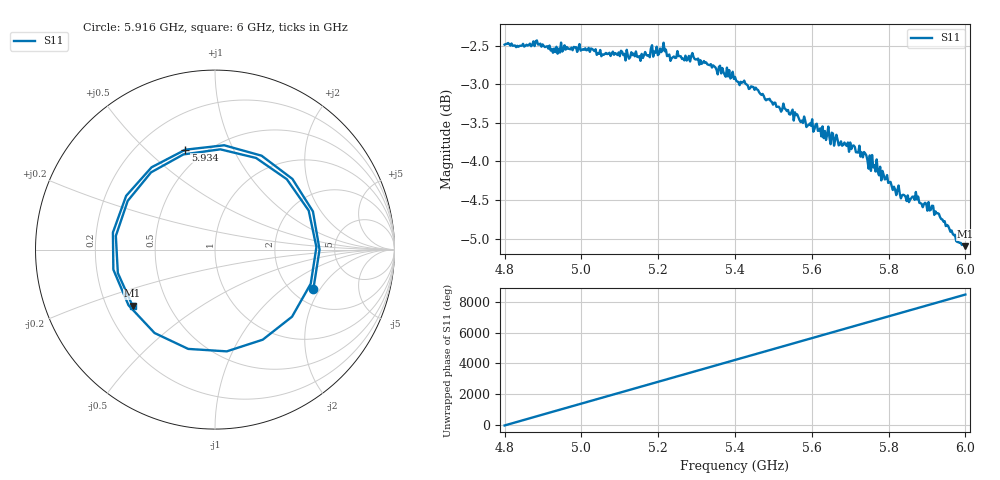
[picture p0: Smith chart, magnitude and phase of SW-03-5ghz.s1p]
! NanoVNA-App
! Date: 2026-05-22 18:56:15
! Start: 4.8GHz Stop: 6GHz Points: 401
! S-Parameter data: F S11
# Hz S RI R 50
!  Frequency  S11_Real  S11_Imag
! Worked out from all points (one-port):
!   401 points, 4.8 GHz to 6 GHz, reference 50 ohm
!   lowest |S11| = -5.1 dB at 6 GHz (marker M1), VSWR 3.50, Z = 15.5 - j14.1 ohm
!   |S11| at or under -10 dB: nowhere
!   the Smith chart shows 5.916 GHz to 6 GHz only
!   S11 on the Smith chart (normalised r, x): 5.916 GHz: 2.58, -1.74; 5.934 GHz: 0.40, +0.67; 6 GHz: 0.31, -0.28
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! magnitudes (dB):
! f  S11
! 4.8 GHz  -2.5
! 4.887 GHz  -2.5
! 4.926 GHz  -2.6
! 4.95 GHz  -2.6
! 5.1 GHz  -2.6
! 5.154 GHz  -2.7
! 5.211 GHz  -2.6
! 5.229 GHz  -2.6
! 5.25 GHz  -2.6
! 5.292 GHz  -2.6
! 5.4 GHz  -2.9
! 5.454 GHz  -3.0
! 5.514 GHz  -3.3
! 5.55 GHz  -3.3
! 5.616 GHz  -3.6
! 5.631 GHz  -3.7
! 5.649 GHz  -3.8
! 5.676 GHz  -3.7
! 5.7 GHz  -3.8
! 5.736 GHz  -3.9
! 5.814 GHz  -4.3
! 5.85 GHz  -4.4
! 5.871 GHz  -4.4
! 5.886 GHz  -4.6
! 5.916 GHz  -4.6
! 5.934 GHz  -4.7
! 5.982 GHz  -5.0
! 6 GHz  -5.1
